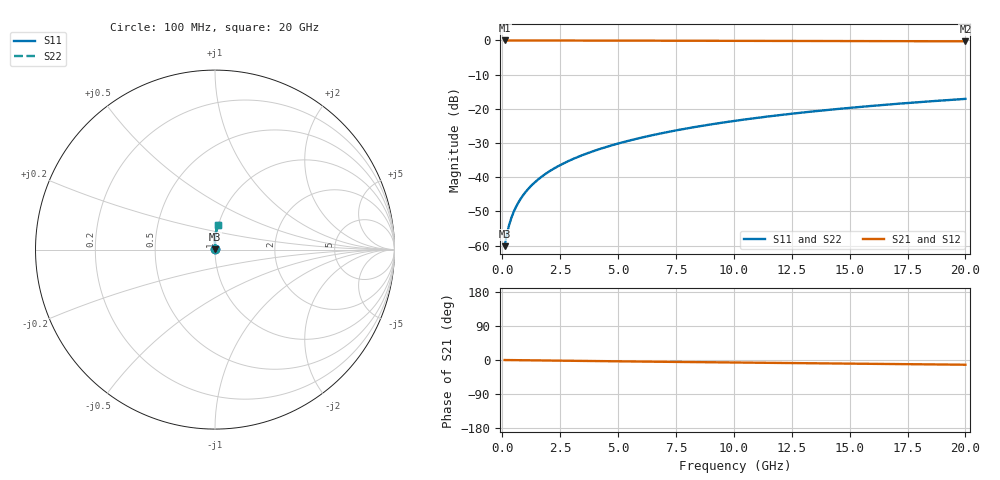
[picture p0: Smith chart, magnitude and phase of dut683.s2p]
! Touchstone file exported from HFSS 2024.1.0
!  File:  C:/UserFiles/LocalFiles/RDL_TSV_Batchsim/temp_RDL_top_683_1779782525.aedt
!  Generated:  04:04:26 PM May 26, 2026
!  Design:  RDL_top
!  Project:  temp_RDL_top_683_1779782525
!  Setup:  Setup1
!  Solution:  Sweep
! Variables:
!  dtsv = 10.80580581um
!  hbump = 3um
!  htsv = 97.48um
!  ldown = 100um
!  lrdl = 140.51um
!  p = 40
!  p1 = 53.88um
!  rhole = 1um
!  t = 450um
!  tdown = 3.915915916um
!  trdl = 3.83um
!  wdown = 15.38538539um
!  wrdl = 25.03um
# GHz S MA R 50.000000
! Terminal data exported
! Port[1] = Box2_T1
! Port[2] = Box2_T2
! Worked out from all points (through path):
!   200 points, 100 MHz to 20 GHz, reference 50 ohm
!   highest |S21| = -0.01 dB at 100 MHz (marker M1); lowest = -0.3 dB at 20 GHz (marker M2)
!   group delay of S21, straight-line fit = 1.71 ps
!   lowest |S11| = -60.2 dB at 100 MHz (marker M3), VSWR 1.00, Z = 50.1 + j0.0649 ohm
!   |S11| at or under -10 dB: start of sweep to end of sweep
!   |S22| runs from -60.2 to -17.1 dB; largest |S21 - S12| = 4.3e-15
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0.1  0.0009815 41.4  0.9993 -0.1  0.9993 -0.1  0.0009815 41.4
! Gamma 0 0 0 0
! Port Impedance 50 0 50 0
0.2  0.001488 58.7  0.9992 -0.1  0.9992 -0.1  0.001488 58.7
0.3  0.002036 66.7  0.9992 -0.2  0.9992 -0.2  0.002036 66.7
0.4  0.002594 71.4  0.9991 -0.3  0.9991 -0.3  0.002594 71.4
0.5  0.003158 74.6  0.9991 -0.4  0.9991 -0.4  0.003157 74.6
0.6  0.003726 77.0  0.999 -0.4  0.999 -0.4  0.003726 77.0
0.8  0.004877 80.2  0.999 -0.6  0.999 -0.6  0.004877 80.2
1.1  0.006628 83.1  0.9988 -0.8  0.9988 -0.8  0.006628 83.1
1.5  0.008994 85.4  0.9986 -1.1  0.9986 -1.1  0.008994 85.4
1.8  0.01079 86.5  0.9983 -1.3  0.9983 -1.3  0.01079 86.5
2.1  0.0126 87.4  0.9981 -1.5  0.9981 -1.5  0.0126 87.4
2.7  0.01627 88.6  0.9975 -1.9  0.9975 -1.9  0.01627 88.6
3.5  0.02129 89.7  0.9965 -2.5  0.9965 -2.5  0.02129 89.7
4.2  0.02579 90.2  0.9955 -3.0  0.9955 -3.0  0.02579 90.2
5  0.03107 90.6  0.9943 -3.5  0.9943 -3.5  0.03107 90.6
5.9  0.03717 90.8  0.9928 -4.1  0.9928 -4.1  0.03717 90.8
6.8  0.04341 90.8  0.9913 -4.6  0.9913 -4.6  0.04341 90.8
8.4  0.05479 90.3  0.9886 -5.6  0.9886 -5.6  0.05479 90.3
10.1  0.06715 89.5  0.9859 -6.7  0.9859 -6.7  0.06715 89.5
13.4  0.09148 87.3  0.9808 -8.6  0.9808 -8.6  0.09147 87.3
16.7  0.1158 84.9  0.9759 -10.6  0.9759 -10.6  0.1158 84.9
20  0.1398 82.5  0.9711 -12.5  0.9711 -12.5  0.1398 82.5
